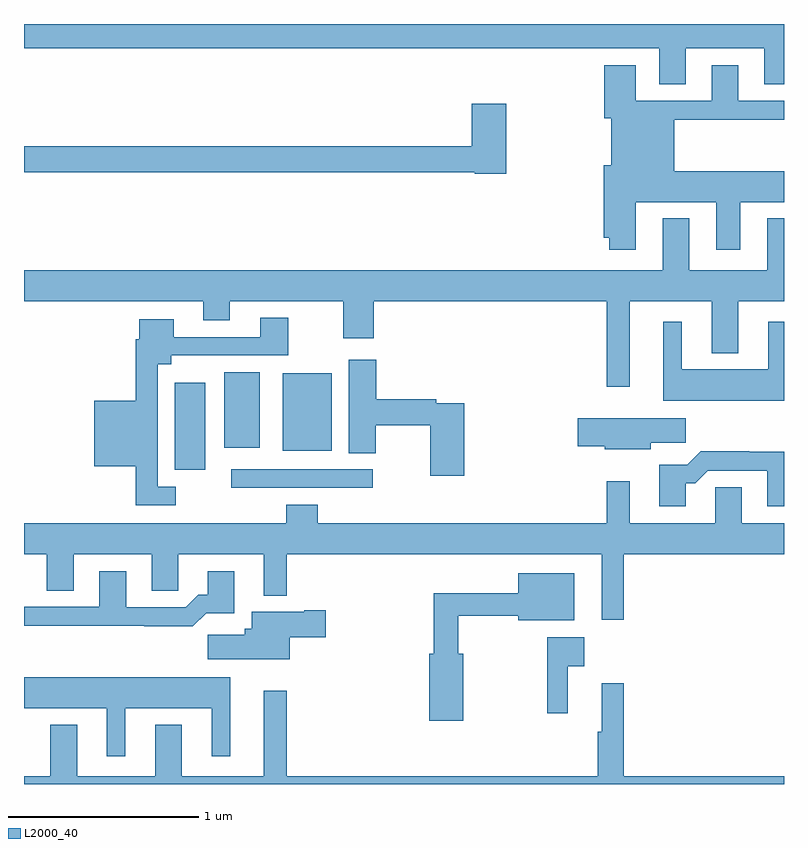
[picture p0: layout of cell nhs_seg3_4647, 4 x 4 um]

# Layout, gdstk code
import gdstk
lib = gdstk.Library(unit=1e-6, precision=1e-09)
def R(c, l, rs):  # rectangles x0, y0, x1, y1
    for r in rs: c.add(gdstk.rectangle(r[:2], r[2:], *l))
def P(c, l, *ps):  # polygons
    for p in ps: c.add(gdstk.Polygon(p, *l))
L2000_40 = (2000, 40)

nhs_seg3_4647 = lib.new_cell('nhs_seg3_4647')
R(nhs_seg3_4647, L2000_40, [(362.091,675.96,362.836,676.056), (361.793,676.055,361.954,676.513), (362.363,676.154,362.62,676.561), (362.054,676.169,362.242,676.567)])
P(nhs_seg3_4647, L2000_40, [(364.483,678.272),(364.895,678.272),(364.895,678.082),(365,678.082),(365,678.4),(361,678.4),(361,678.272),(364.343,678.272),(364.343,678.082),(364.483,678.082)],
  [(364.219,677.462),(364.643,677.462),(364.643,677.211),(364.771,677.211),(364.771,677.462),(365,677.462),(365,677.626),(364.423,677.626),(364.423,677.896),(365,677.896),(365,677.997),(364.759,677.997),(364.759,678.184),(364.619,678.184),(364.619,677.997),(364.219,677.997),(364.219,678.184),(364.055,678.184),(364.055,677.904),(364.091,677.904),(364.091,677.656),(364.052,677.656),(364.052,677.276),(364.079,677.276),(364.079,677.211),(364.219,677.211)],
  [(363.539,677.98),(363.356,677.98),(363.356,677.756),(361,677.756),(361,677.62),(363.372,677.62),(363.372,677.612),(363.539,677.612)],
  [(361,676.94),(361.943,676.94),(361.943,676.841),(362.083,676.841),(362.083,676.94),(362.68,676.94),(362.68,676.746),(362.84,676.746),(362.84,676.94),(364.068,676.94),(364.068,676.491),(364.189,676.491),(364.189,676.94),(364.619,676.94),(364.619,676.667),(364.759,676.667),(364.759,676.94),(365,676.94),(365,677.377),(364.913,677.377),(364.913,677.104),(364.501,677.104),(364.501,677.377),(364.361,677.377),(364.361,677.104),(361,677.104)],
  [(361.798,675.964),(361.705,675.964),(361.705,676.313),(361.704,676.313),(361.704,676.61),(361.774,676.61),(361.774,676.656),(362.391,676.656),(362.391,676.855),(362.243,676.855),(362.243,676.752),(361.789,676.752),(361.789,676.846),(361.607,676.846),(361.607,676.742),(361.588,676.742),(361.588,676.417),(361.37,676.417),(361.37,676.073),(361.588,676.073),(361.588,675.867),(361.798,675.867)],
  [(365,676.834),(364.916,676.834),(364.916,676.582),(364.462,676.582),(364.462,676.834),(364.364,676.834),(364.364,676.418),(365,676.418)],
  [(363.317,676.404),(363.17,676.404),(363.17,676.424),(362.855,676.424),(362.855,676.633),(362.708,676.633),(362.708,676.141),(362.85,676.141),(362.85,676.288),(363.139,676.288),(363.139,676.023),(363.317,676.023)],
  [(364.299,676.195),(364.483,676.195),(364.483,676.324),(363.915,676.324),(363.915,676.177),(364.056,676.177),(364.056,676.163),(364.299,676.163)],
  [(364.483,675.983),(364.532,675.983),(364.599,676.05),(364.913,676.05),(364.913,675.861),(365,675.861),(365,676.148),(364.817,676.148),(364.817,676.151),(364.562,676.151),(364.492,676.081),(364.343,676.081),(364.343,675.861),(364.483,675.861)],
  [(361,675.608),(361.121,675.608),(361.121,675.418),(361.261,675.418),(361.261,675.608),(361.673,675.608),(361.673,675.418),(361.812,675.418),(361.812,675.608),(362.261,675.608),(362.261,675.392),(362.383,675.392),(362.383,675.608),(364.04,675.608),(364.04,675.264),(364.157,675.264),(364.157,675.608),(365,675.608),(365,675.772),(364.777,675.772),(364.777,675.962),(364.638,675.962),(364.638,675.772),(364.189,675.772),(364.189,675.994),(364.068,675.994),(364.068,675.772),(362.546,675.772),(362.546,675.871),(362.381,675.871),(362.381,675.772),(361,675.772)],
  [(361.958,675.299),(362.107,675.299),(362.107,675.52),(361.967,675.52),(361.967,675.397),(361.918,675.397),(361.851,675.33),(361.537,675.33),(361.537,675.52),(361.397,675.52),(361.397,675.333),(361,675.333),(361,675.232),(361.633,675.232),(361.633,675.23),(361.889,675.23)],
  [(363.312,675.085),(363.286,675.085),(363.286,675.286),(363.602,675.286),(363.602,675.263),(363.895,675.263),(363.895,675.508),(363.602,675.508),(363.602,675.404),(363.157,675.404),(363.157,675.085),(363.134,675.085),(363.134,674.733),(363.312,674.733)],
  [(362.398,675.173),(362.587,675.173),(362.587,675.315),(362.474,675.315),(362.474,675.307),(362.198,675.307),(362.198,675.217),(362.162,675.217),(362.162,675.185),(361.968,675.185),(361.968,675.056),(362.398,675.056)],
  [(363.863,675.02),(363.949,675.02),(363.949,675.172),(363.753,675.172),(363.753,674.772),(363.863,674.772)],
  [(361.534,674.798),(361.988,674.798),(361.988,674.547),(362.086,674.547),(362.086,674.962),(361,674.962),(361,674.798),(361.436,674.798),(361.436,674.547),(361.534,674.547)],
  [(365,674.44),(364.157,674.44),(364.157,674.929),(364.04,674.929),(364.04,674.676),(364.021,674.676),(364.021,674.44),(362.383,674.44),(362.383,674.89),(362.261,674.89),(362.261,674.44),(361.831,674.44),(361.831,674.713),(361.691,674.713),(361.691,674.44),(361.279,674.44),(361.279,674.713),(361.139,674.713),(361.139,674.44),(361,674.44),(361,674.4),(365,674.4)])

lib.write_gds('nhs_seg3_4647.gds')
